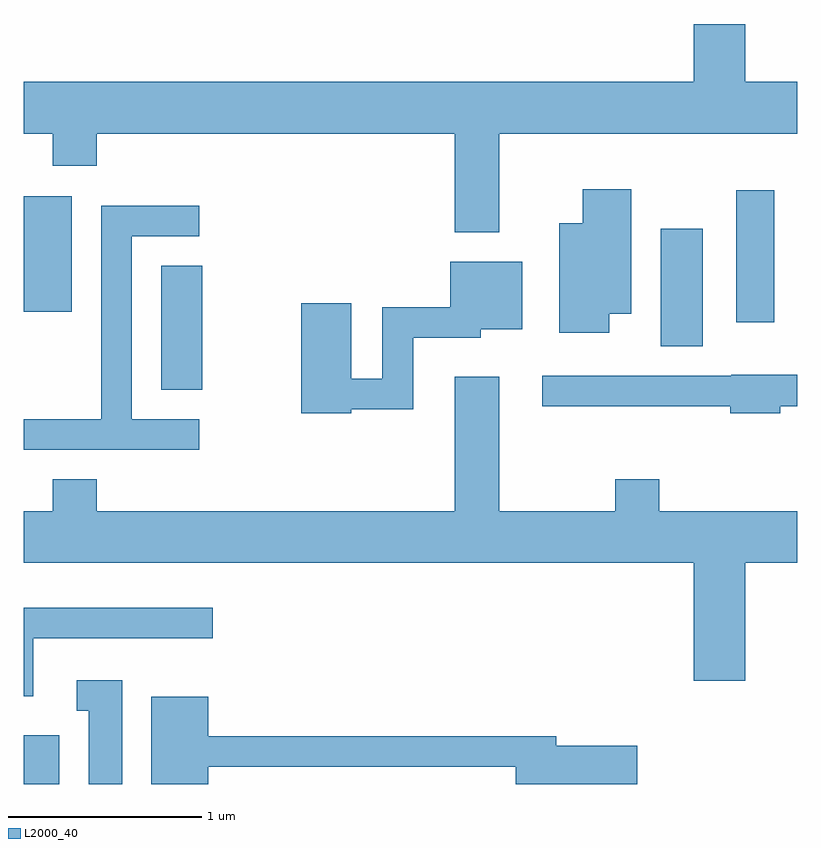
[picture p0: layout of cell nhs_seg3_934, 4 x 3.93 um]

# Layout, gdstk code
import gdstk
lib = gdstk.Library(unit=1e-6, precision=1e-09)
def R(c, l, rs):  # rectangles x0, y0, x1, y1
    for r in rs: c.add(gdstk.rectangle(r[:2], r[2:], *l))
def P(c, l, *ps):  # polygons
    for p in ps: c.add(gdstk.Polygon(p, *l))
L2000_40 = (2000, 40)

nhs_seg3_934 = lib.new_cell('nhs_seg3_934')
R(nhs_seg3_934, L2000_40, [(211.611,1215.892,211.794,1216.144), (212.321,1217.931,212.534,1218.574), (214.906,1218.156,215.124,1218.764), (215.296,1218.281,215.494,1218.964), (211.611,1218.336,211.859,1218.934)])
P(nhs_seg3_934, L2000_40, [(214.069,1219.256),(215.611,1219.256),(215.611,1219.524),(215.344,1219.524),(215.344,1219.824),(215.076,1219.824),(215.076,1219.524),(211.611,1219.524),(211.611,1219.256),(211.761,1219.256),(211.761,1219.091),(211.989,1219.091),(211.989,1219.256),(213.841,1219.256),(213.841,1218.746),(214.069,1218.746)],
  [(214.639,1218.326),(214.754,1218.326),(214.754,1218.969),(214.501,1218.969),(214.501,1218.794),(214.381,1218.794),(214.381,1218.226),(214.639,1218.226)],
  [(212.518,1217.779),(212.169,1217.779),(212.169,1218.726),(212.518,1218.726),(212.518,1218.884),(212.011,1218.884),(212.011,1217.779),(211.611,1217.779),(211.611,1217.621),(212.518,1217.621)],
  [(213.304,1217.831),(213.624,1217.831),(213.624,1218.201),(213.974,1218.201),(213.974,1218.246),(214.189,1218.246),(214.189,1218.594),(213.816,1218.594),(213.816,1218.359),(213.466,1218.359),(213.466,1217.989),(213.304,1217.989),(213.304,1218.379),(213.046,1218.379),(213.046,1217.811),(213.304,1217.811)],
  [(215.524,1217.846),(215.611,1217.846),(215.611,1218.009),(215.27,1218.009),(215.27,1218.004),(214.293,1218.004),(214.293,1217.846),(215.266,1217.846),(215.266,1217.811),(215.524,1217.811)],
  [(215.344,1217.036),(215.611,1217.036),(215.611,1217.304),(214.899,1217.304),(214.899,1217.469),(214.671,1217.469),(214.671,1217.304),(214.069,1217.304),(214.069,1217.999),(213.841,1217.999),(213.841,1217.304),(211.989,1217.304),(211.989,1217.469),(211.761,1217.469),(211.761,1217.304),(211.611,1217.304),(211.611,1217.036),(215.076,1217.036),(215.076,1216.426),(215.344,1216.426)],
  [(211.659,1216.646),(212.588,1216.646),(212.588,1216.804),(211.611,1216.804),(211.611,1216.346),(211.659,1216.346)],
  [(212.119,1216.429),(211.883,1216.429),(211.883,1216.271),(211.946,1216.271),(211.946,1215.892),(212.119,1215.892)],
  [(212.564,1215.981),(214.156,1215.981),(214.156,1215.892),(214.784,1215.892),(214.784,1216.089),(214.364,1216.089),(214.364,1216.139),(212.564,1216.139),(212.564,1216.344),(212.271,1216.344),(212.271,1215.892),(212.564,1215.892)])

lib.write_gds('nhs_seg3_934.gds')
